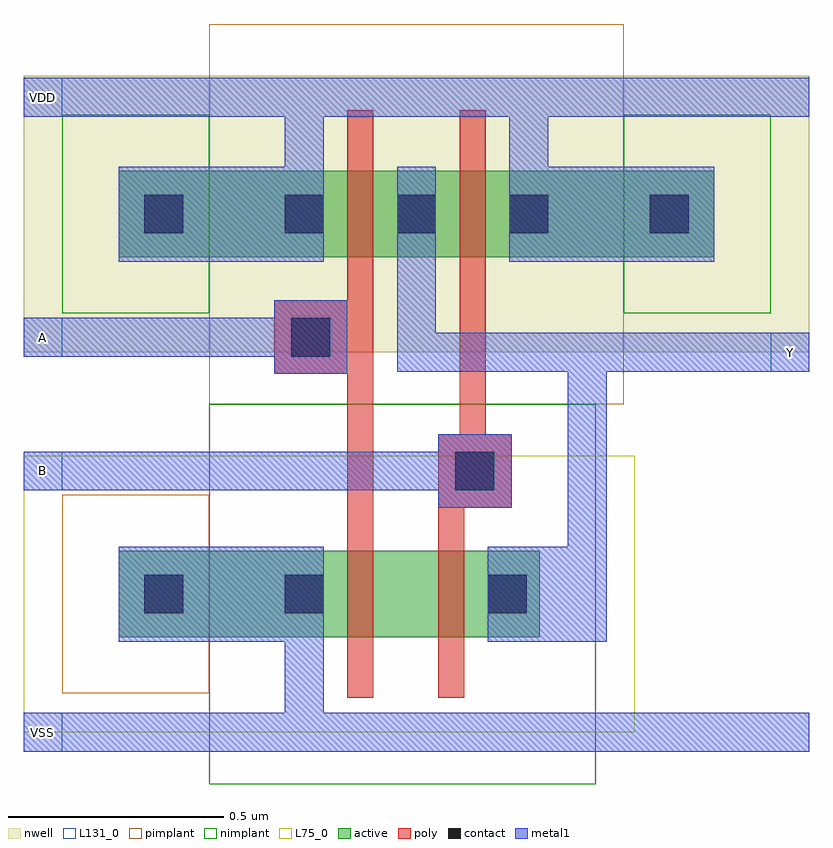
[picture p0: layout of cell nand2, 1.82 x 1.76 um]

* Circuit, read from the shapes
.subckt nand2 A B VDD VSS Y
M1 n1 A VSS VSS nfet w=0.2u l=0.06u
M2 Y B n1 VSS nfet w=0.2u l=0.06u
M3 Y A VDD VDD pfet w=0.2u l=0.06u
M4 VDD B Y VDD pfet w=0.2u l=0.06u
.ends

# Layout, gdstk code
from math import pi, radians
import gdstk
lib = gdstk.Library(unit=1e-6, precision=1e-09)
def R(c, l, rs):  # rectangles x0, y0, x1, y1
    for r in rs: c.add(gdstk.rectangle(r[:2], r[2:], *l))
nwell = (3, 0)
active = (6, 0)
poly = (17, 0)
pimplant = (25, 0)
nimplant = (26, 0)
contact = (30, 0)
metal1 = (31, 0)
L75_0 = (75, 0)
L131_0 = (131, 0)

pch_cdns_683789828750 = lib.new_cell('pch_CDNS_683789828750')
R(pch_cdns_683789828750, nwell, [(-0.75,-0.22,0.455,0.42)])
R(pch_cdns_683789828750, active, [(-0.53,0,-0.32,0.2), (-0.32,0,0,0.2), (0,0,0.06,0.2), (0.06,0,0.235,0.2)])
R(pch_cdns_683789828750, poly, [(0,-0.14,0.06,0), (0,0,0.06,0.2), (0,0.2,0.06,0.34)])
R(pch_cdns_683789828750, pimplant, [(-0.32,-0.34,0.365,0.54)])
R(pch_cdns_683789828750, nimplant, [(-0.66,-0.13,-0.32,0.33)])
R(pch_cdns_683789828750, contact, [(-0.47,0.055,-0.38,0.145), (-0.145,0.055,-0.055,0.145), (0.115,0.055,0.205,0.145)])
R(pch_cdns_683789828750, metal1, [(-0.32,-0.01,-0.145,0.21), (-0.145,-0.01,-0.055,0.21), (0.115,-0.01,0.205,0.21)])
pch_cdns_683789828750.add(gdstk.FlexPath([(-0.425,-0.01),(-0.425,0.21)], 0.21, ends="flush", simple_path=True, layer=31, datatype=0))  # metal1
pch_cdns_683789828750.add(gdstk.Label('& SerialNumber 000000', (0,0), layer=63, texttype=63))
pch_cdns_683789828750.add(gdstk.Label('& Distributor TSMC', (0,0), layer=63, texttype=63))
pch_cdns_683789828750.add(gdstk.Label('& Metric 1', (0,0), layer=63, texttype=63))
pch_cdns_683789828750.add(gdstk.Label('& PDK TechNode "CRN65LP"', (0,0), layer=63, texttype=63))
pch_cdns_683789828750.add(gdstk.Label('& Product    tsmcN65_PDK', (0,0), layer=63, texttype=63))
pch_cdns_683789828750.add(gdstk.Label('& Vendor     Taiwan Semiconductor manufacturing Corp.', (0,0), layer=63, texttype=63))
pch_cdns_683789828750.add(gdstk.Label('[@instanceName]', (0.03,0.1), layer=127, texttype=0))
pch_cdns_683789828750.add(gdstk.Label('pch\n0.2/0.06\n', (0,0), layer=127, texttype=0))
pch_cdns_683789828750.add(gdstk.Label('B', (-0.425,0.1), layer=127, texttype=0))
pch_cdns_683789828750.add(gdstk.Label('D', (0.16,0.1), layer=127, texttype=0))
pch_cdns_683789828750.add(gdstk.Label('S', (-0.1,0.1), layer=127, texttype=0))

nch_cdns_683789828751 = lib.new_cell('nch_CDNS_683789828751')
R(nch_cdns_683789828751, active, [(-0.53,0,-0.32,0.2), (-0.32,0,0,0.2), (0,0,0.06,0.2), (0.06,0,0.135,0.2)])
R(nch_cdns_683789828751, poly, [(0,-0.14,0.06,0), (0,0,0.06,0.2), (0,0.2,0.06,0.34)])
R(nch_cdns_683789828751, pimplant, [(-0.66,-0.13,-0.32,0.33)])
R(nch_cdns_683789828751, nimplant, [(-0.32,-0.34,0.265,0.54)])
R(nch_cdns_683789828751, contact, [(-0.47,0.055,-0.38,0.145), (-0.145,0.055,-0.055,0.145)])
R(nch_cdns_683789828751, metal1, [(-0.32,-0.01,-0.145,0.21), (-0.145,-0.01,-0.055,0.21)])
R(nch_cdns_683789828751, L75_0, [(-0.75,-0.22,0.355,0.42)])
nch_cdns_683789828751.add(gdstk.FlexPath([(-0.425,-0.01),(-0.425,0.21)], 0.21, ends="flush", simple_path=True, layer=31, datatype=0))  # metal1
nch_cdns_683789828751.add(gdstk.Label('& SerialNumber 000000', (0,0), layer=63, texttype=63))
nch_cdns_683789828751.add(gdstk.Label('& Distributor TSMC', (0,0), layer=63, texttype=63))
nch_cdns_683789828751.add(gdstk.Label('& Metric 1', (0,0), layer=63, texttype=63))
nch_cdns_683789828751.add(gdstk.Label('& PDK TechNode "CRN65LP"', (0,0), layer=63, texttype=63))
nch_cdns_683789828751.add(gdstk.Label('& Product    tsmcN65_PDK', (0,0), layer=63, texttype=63))
nch_cdns_683789828751.add(gdstk.Label('& Vendor     Taiwan Semiconductor manufacturing Corp.', (0,0), layer=63, texttype=63))
nch_cdns_683789828751.add(gdstk.Label('[@instanceName]', (0.03,0.1), layer=127, texttype=0))
nch_cdns_683789828751.add(gdstk.Label('nch\n0.2/0.06\n', (0,0), layer=127, texttype=0))
nch_cdns_683789828751.add(gdstk.Label('B', (-0.425,0.1), layer=127, texttype=0))
nch_cdns_683789828751.add(gdstk.Label('S', (-0.1,0.1), layer=127, texttype=0))

nch_cdns_683789828752 = lib.new_cell('nch_CDNS_683789828752')
R(nch_cdns_683789828752, active, [(-0.075,0,0,0.2), (0,0,0.06,0.2), (0.06,0,0.235,0.2)])
R(nch_cdns_683789828752, poly, [(0,-0.14,0.06,0), (0,0,0.06,0.2), (0,0.2,0.06,0.34)])
R(nch_cdns_683789828752, nimplant, [(-0.205,-0.34,0.365,0.54)])
R(nch_cdns_683789828752, contact, [(0.115,0.055,0.205,0.145)])
R(nch_cdns_683789828752, metal1, [(0.115,-0.01,0.205,0.21)])
R(nch_cdns_683789828752, L75_0, [(-0.295,-0.22,0.455,0.42)])
nch_cdns_683789828752.add(gdstk.Label('& SerialNumber 000000', (0,0), layer=63, texttype=63))
nch_cdns_683789828752.add(gdstk.Label('& Distributor TSMC', (0,0), layer=63, texttype=63))
nch_cdns_683789828752.add(gdstk.Label('& Metric 1', (0,0), layer=63, texttype=63))
nch_cdns_683789828752.add(gdstk.Label('& PDK TechNode "CRN65LP"', (0,0), layer=63, texttype=63))
nch_cdns_683789828752.add(gdstk.Label('& Product    tsmcN65_PDK', (0,0), layer=63, texttype=63))
nch_cdns_683789828752.add(gdstk.Label('& Vendor     Taiwan Semiconductor manufacturing Corp.', (0,0), layer=63, texttype=63))
nch_cdns_683789828752.add(gdstk.Label('[@instanceName]', (0.03,0.1), layer=127, texttype=0))
nch_cdns_683789828752.add(gdstk.Label('nch\n0.2/0.06\n', (0,0), layer=127, texttype=0))
nch_cdns_683789828752.add(gdstk.Label('D', (0.16,0.1), layer=127, texttype=0))

pch_cdns_683789828753 = lib.new_cell('pch_CDNS_683789828753')
R(pch_cdns_683789828753, nwell, [(-0.75,-0.22,0.305,0.42)])
R(pch_cdns_683789828753, active, [(-0.53,0,-0.32,0.2), (-0.32,0,0,0.2), (0,0,0.06,0.2), (0.06,0,0.085,0.2)])
R(pch_cdns_683789828753, poly, [(0,-0.14,0.06,0), (0,0,0.06,0.2), (0,0.2,0.06,0.34)])
R(pch_cdns_683789828753, pimplant, [(-0.32,-0.34,0.215,0.54)])
R(pch_cdns_683789828753, nimplant, [(-0.66,-0.13,-0.32,0.33)])
R(pch_cdns_683789828753, contact, [(-0.47,0.055,-0.38,0.145), (-0.145,0.055,-0.055,0.145)])
R(pch_cdns_683789828753, metal1, [(-0.32,-0.01,-0.145,0.21), (-0.145,-0.01,-0.055,0.21)])
pch_cdns_683789828753.add(gdstk.FlexPath([(-0.425,-0.01),(-0.425,0.21)], 0.21, ends="flush", simple_path=True, layer=31, datatype=0))  # metal1
pch_cdns_683789828753.add(gdstk.Label('& SerialNumber 000000', (0,0), layer=63, texttype=63))
pch_cdns_683789828753.add(gdstk.Label('& Distributor TSMC', (0,0), layer=63, texttype=63))
pch_cdns_683789828753.add(gdstk.Label('& Metric 1', (0,0), layer=63, texttype=63))
pch_cdns_683789828753.add(gdstk.Label('& PDK TechNode "CRN65LP"', (0,0), layer=63, texttype=63))
pch_cdns_683789828753.add(gdstk.Label('& Product    tsmcN65_PDK', (0,0), layer=63, texttype=63))
pch_cdns_683789828753.add(gdstk.Label('& Vendor     Taiwan Semiconductor manufacturing Corp.', (0,0), layer=63, texttype=63))
pch_cdns_683789828753.add(gdstk.Label('[@instanceName]', (0.03,0.1), layer=127, texttype=0))
pch_cdns_683789828753.add(gdstk.Label('pch\n0.2/0.06\n', (0,0), layer=127, texttype=0))
pch_cdns_683789828753.add(gdstk.Label('B', (-0.425,0.1), layer=127, texttype=0))
pch_cdns_683789828753.add(gdstk.Label('S', (-0.1,0.1), layer=127, texttype=0))

m1_po_cdns_683789828750 = lib.new_cell('M1_PO_CDNS_683789828750')
R(m1_po_cdns_683789828750, poly, [(-0.085,-0.085,0.085,0.085)])
R(m1_po_cdns_683789828750, contact, [(-0.045,-0.045,0.045,0.045)])
R(m1_po_cdns_683789828750, metal1, [(-0.085,-0.085,0.085,0.085)])

nand2 = lib.new_cell('nand2')
R(nand2, L131_0, [(0,0.075,0.09,0.165), (0,0.68,0.09,0.77), (1.73,0.955,1.82,1.045), (0,0.99,0.09,1.08), (0,1.545,0.09,1.635)])
nand2.add(gdstk.FlexPath([(1.04,1.08),(1.04,0.725)], 0.06, ends=(0, 0.03), simple_path=True, layer=17, datatype=0))  # poly
nand2.add(gdstk.FlexPath([(1.04,0.725),(1.045,0.725)], 0.06, ends=(0.03, 0), simple_path=True, layer=17, datatype=0))  # poly
nand2.add(gdstk.FlexPath([(0.78,1.08),(0.78,0.68)], 0.06, ends="flush", simple_path=True, layer=17, datatype=0))  # poly
nand2.add(gdstk.FlexPath([(1.305,1),(1.305,0.44)], 0.09, ends=(0.045, 0.11), simple_path=True, layer=31, datatype=0))  # metal1
nand2.add(gdstk.FlexPath([(1.305,0.44),(1.165,0.44)], 0.22, ends=(0.045, 0), simple_path=True, layer=31, datatype=0))  # metal1
nand2.add(gdstk.FlexPath([(1.17,1.43),(1.17,1.59)], 0.09, ends=(0, 0.045), simple_path=True, layer=31, datatype=0))  # metal1
nand2.add(gdstk.FlexPath([(1.045,0.725),(0,0.725)], 0.09, ends="flush", simple_path=True, layer=31, datatype=0))  # metal1
nand2.add(gdstk.FlexPath([(0.91,1),(1.305,1)], 0.09, ends="extended", simple_path=True, layer=31, datatype=0))  # metal1
nand2.add(gdstk.FlexPath([(1.305,1),(1.82,1)], 0.09, ends=(0.045, 0), simple_path=True, layer=31, datatype=0))  # metal1
nand2.add(gdstk.FlexPath([(0.91,1.21),(0.91,1)], 0.09, ends=(0, 0.045), simple_path=True, layer=31, datatype=0))  # metal1
nand2.add(gdstk.FlexPath([(0.65,1.43),(0.65,1.59)], 0.09, ends=(0, 0.045), simple_path=True, layer=31, datatype=0))  # metal1
nand2.add(gdstk.FlexPath([(0.65,0.33),(0.65,0.12)], 0.09, ends=(0, 0.045), simple_path=True, layer=31, datatype=0))  # metal1
nand2.add(gdstk.FlexPath([(0.65,0.12),(1.82,0.12)], 0.09, ends=(0.045, 0), simple_path=True, layer=31, datatype=0))  # metal1
nand2.add(gdstk.FlexPath([(0.65,0.12),(0,0.12)], 0.09, ends=(0.045, 0), simple_path=True, layer=31, datatype=0))  # metal1
nand2.add(gdstk.FlexPath([(1.17,1.59),(1.82,1.59)], 0.09, ends=(0.045, 0), simple_path=True, layer=31, datatype=0))  # metal1
nand2.add(gdstk.FlexPath([(0.65,1.59),(1.17,1.59)], 0.09, ends="extended", simple_path=True, layer=31, datatype=0))  # metal1
nand2.add(gdstk.FlexPath([(0.65,1.59),(0,1.59)], 0.09, ends=(0.045, 0), simple_path=True, layer=31, datatype=0))  # metal1
nand2.add(gdstk.FlexPath([(0.665,1.035),(0,1.035)], 0.09, ends="flush", simple_path=True, layer=31, datatype=0))  # metal1
nand2.add(gdstk.Reference(pch_cdns_683789828750, (1.07,1.22), rotation=pi, x_reflection=True))
nand2.add(gdstk.Reference(nch_cdns_683789828751, (0.75,0.34)))
nand2.add(gdstk.Reference(nch_cdns_683789828752, (0.96,0.34)))
nand2.add(gdstk.Reference(pch_cdns_683789828753, (0.75,1.22)))
nand2.add(gdstk.Reference(m1_po_cdns_683789828750, (1.045,0.725)))
nand2.add(gdstk.Reference(m1_po_cdns_683789828750, (0.665,1.035)))
nand2.add(gdstk.Label('B', (0.045,0.725), layer=131, texttype=0))
nand2.add(gdstk.Label('A', (0.045,1.035), layer=131, texttype=0))
nand2.add(gdstk.Label('VSS', (0.045,0.12), layer=131, texttype=0))
nand2.add(gdstk.Label('VDD', (0.045,1.59), layer=131, texttype=0))
nand2.add(gdstk.Label('Y', (1.775,1), layer=131, texttype=0))

lib.write_gds('nand2.gds')
